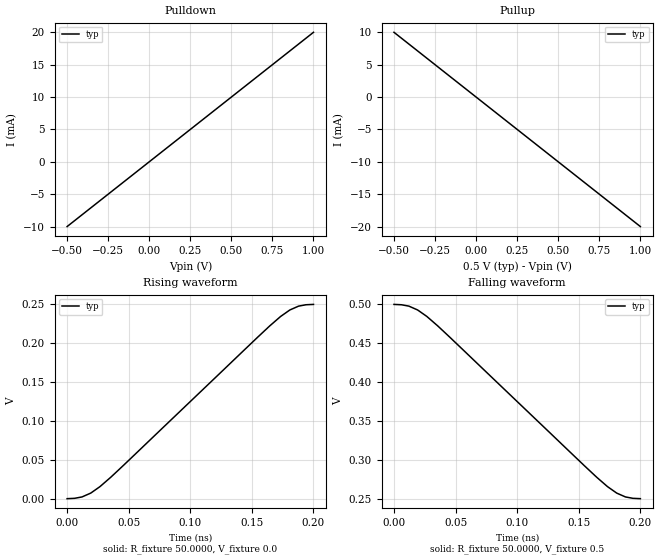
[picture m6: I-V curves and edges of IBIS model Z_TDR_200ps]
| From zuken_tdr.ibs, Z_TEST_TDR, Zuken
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|   Model Z_TDR_200ps  OUTPUT
[Model]   Z_TDR_200ps
Model_type  Output
Polarity   Non-Inverting
Vmeas =0.125V
Vref =0V
Rref =50
Cref =0pF
| variable   typ   min   max
C_comp   0.0   NA   NA
[Temperature Range]   50   NA   NA
[Voltage range]   0.5   NA   NA
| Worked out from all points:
|   slope of the pulldown table from 0 to 0.075 V, typ, clamps not added: 50 ohm
|   slope of the pullup table from 0 to 0.075 V, typ, clamps not added: 50 ohm
|   rising waveform, R_fixture 50.0000, V_fixture 0.0: 20-80 % time 99.1ps typ, NA min, NA max; typ from 0 V to 0.25 V
|   falling waveform, R_fixture 50.0000, V_fixture 0.5: 20-80 % time 99.1ps typ, NA min, NA max; typ from 0.5 V to 0.25 V
[Pullup]
|   Voltage   I(typ)   I(min)   I(max)
-500mV    10mA       NA         NA
1V        -20mA      NA         NA
[Pulldown]
|   Voltage   I(typ)   I(min)   I(max)
-500mV    -10mA      NA         NA
1V        20mA       NA         NA
[GND Clamp]
|   Voltage   I(typ)   I(min)   I(max)
-500mV    0A         NA         NA
1V        0A         NA         NA
[POWER Clamp]
|   Voltage   I(typ)   I(min)   I(max)
-500mV    0A         NA         NA
1V        0A         NA         NA
[ramp]
| variable   typ   min   max
dV/dt_r   0.15/120ps   NA   NA
dV/dt_f   0.15/120ps   NA   NA
[Rising Waveform]
R_fixture=   50.0000
V_fixture=   0.0
V_fixture_min=  0.0
V_fixture_max=  0.0
|time   V(typ)   V(min)   V(max)
0s        0V         NA         NA
12.12ps   2.234mV    NA         NA
19.2ps    7.173mV    NA         NA
26.69ps   15.52mV    NA         NA
45.61ps   42.66mV    NA         NA
154.4ps   207.3mV    NA         NA
173.3ps   234.5mV    NA         NA
180.8ps   242.8mV    NA         NA
187.9ps   247.8mV    NA         NA
200ps     250mV      NA         NA
[Falling Waveform]
R_fixture=   50.0000
V_fixture=   0.5
V_fixture_min=  0.5
V_fixture_max=  0.5
|time   V(typ)   V(min)   V(max)
0s        500mV      NA         NA
12.12ps   497.8mV    NA         NA
19.2ps    492.8mV    NA         NA
26.69ps   484.5mV    NA         NA
45.61ps   457.3mV    NA         NA
154.4ps   292.7mV    NA         NA
173.3ps   265.5mV    NA         NA
180.8ps   257.2mV    NA         NA
187.9ps   252.2mV    NA         NA
200ps     250mV      NA         NA
